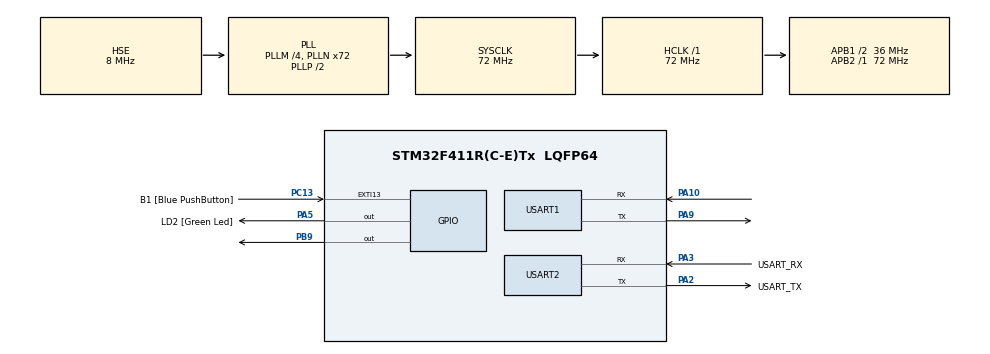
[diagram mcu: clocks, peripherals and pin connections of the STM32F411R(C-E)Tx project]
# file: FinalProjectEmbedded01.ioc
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Mcu.Family=STM32F4
Mcu.Name=STM32F411R(C-E)Tx
Mcu.Package=LQFP64
NVIC.PriorityGroup=NVIC_PRIORITYGROUP_0
NVIC.USART1_IRQn=true\:0\:0\:false\:false\:true\:true\:true\:true
PA10.Mode=Asynchronous
PA10.Signal=USART1_RX
PA13.GPIO_Label=TMS
PA13.Mode=Serial_Wire
PA13.Signal=SYS_JTMS-SWDIO
PA14.GPIO_Label=TCK
PA14.Mode=Serial_Wire
PA14.Signal=SYS_JTCK-SWCLK
PA2.GPIO_Label=USART_TX
PA2.Mode=Asynchronous
PA2.Signal=USART2_TX
PA3.GPIO_Label=USART_RX
PA3.Mode=Asynchronous
PA3.Signal=USART2_RX
PA5.GPIO_Label=LD2 [Green Led]
PA5.Signal=GPIO_Output
PA9.Mode=Asynchronous
PA9.Signal=USART1_TX
PB3.GPIO_Label=SWO
PB3.Signal=SYS_JTDO-SWO
PB9.Signal=GPIO_Output
PC13-ANTI_TAMP.GPIO_Label=B1 [Blue PushButton]
PC13-ANTI_TAMP.GPIO_ModeDefaultEXTI=GPIO_MODE_IT_FALLING
PC13-ANTI_TAMP.Signal=GPXTI13
PC14-OSC32_IN.Mode=LSE-External-Oscillator
PC14-OSC32_IN.Signal=RCC_OSC32_IN
PC15-OSC32_OUT.Mode=LSE-External-Oscillator
PC15-OSC32_OUT.Signal=RCC_OSC32_OUT
PH0\ -\ OSC_IN.Mode=HSE-External-Oscillator
PH0\ -\ OSC_IN.Signal=RCC_OSC_IN
PH1\ -\ OSC_OUT.Mode=HSE-External-Oscillator
PH1\ -\ OSC_OUT.Signal=RCC_OSC_OUT
ProjectManager.HeapSize=0x200
ProjectManager.StackSize=0x400
ProjectManager.TargetToolchain=STM32CubeIDE
RCC.48MHZClocksFreq_Value=36000000
RCC.AHBFreq_Value=72000000
RCC.APB1CLKDivider=RCC_HCLK_DIV2
RCC.APB1Freq_Value=36000000
RCC.APB1TimFreq_Value=72000000
RCC.APB2Freq_Value=72000000
RCC.APB2TimFreq_Value=72000000
RCC.CortexFreq_Value=72000000
RCC.FLatency-AdvancedSettings=FLASH_LATENCY_2
RCC.HCLKFreq_Value=72000000
RCC.HSE_VALUE=8000000
RCC.HSI_VALUE=16000000
RCC.PLLM=4
RCC.PLLN=72
RCC.PLLSourceVirtual=RCC_PLLSOURCE_HSE
RCC.SYSCLKFreq_VALUE=72000000
RCC.SYSCLKSource=RCC_SYSCLKSOURCE_PLLCLK
RCC.VCOOutputFreq_Value=144000000
TIM1.Prescaler=71
USART1.VirtualMode=VM_ASYNC
USART2.VirtualMode=VM_ASYNC
VP_TIM1_VS_ClockSourceINT.Mode=Internal
board=NUCLEO-F411RE

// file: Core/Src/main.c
/* USER CODE BEGIN Header */
/**
  ******************************************************************************
  * @file           : main.c
  * @brief          : Main program body
  ******************************************************************************
  * @attention
  *
  * Copyright (c) 2024 STMicroelectronics.
  * All rights reserved.
  *
  * This software is licensed under terms that can be found in the LICENSE file
  * in the root directory of this software component.
  * If no LICENSE file comes with this software, it is provided AS-IS.
  *
  ******************************************************************************
  */
/* USER CODE END Header */
#include "main.h"

TIM_HandleTypeDef htim1;

UART_HandleTypeDef huart1;
UART_HandleTypeDef huart2;

void SystemClock_Config(void);
static void MX_GPIO_Init(void);
static void MX_USART2_UART_Init(void);
static void MX_TIM1_Init(void);
static void MX_USART1_UART_Init(void);

/* USER CODE BEGIN 0 */
#define DHT22_PORT GPIOB
#define DHT22_PIN GPIO_PIN_9
uint8_t RH1, RH2, TC1, TC2, SUM, CHECK;
uint8_t RHI, RHD, TCI, TCD, TFI, TFD;
int temperature,humidity;
char strCopy[15];
uint32_t pMillis, cMillis;
double tCelsius = 0;
double tFahrenheit = 0;
double RH = 0;
char Rx_data[20]="";
char all_data[20]="";
void microDelay (uint16_t delay)
{
  __HAL_TIM_SET_COUNTER(&htim1, 0);
  while (__HAL_TIM_GET_COUNTER(&htim1) < delay);
}

uint8_t DHT22_Start (void)
{
  uint8_t Response = 0;
  GPIO_InitTypeDef GPIO_InitStructPrivate = {0};
  GPIO_InitStructPrivate.Pin = DHT22_PIN;
  GPIO_InitStructPrivate.Mode = GPIO_MODE_OUTPUT_PP;
  GPIO_InitStructPrivate.Speed = GPIO_SPEED_FREQ_LOW;
  GPIO_InitStructPrivate.Pull = GPIO_NOPULL;
  HAL_GPIO_Init(DHT22_PORT, &GPIO_InitStructPrivate); // set the pin as output
  HAL_GPIO_WritePin (DHT22_PORT, DHT22_PIN, 0);   // pull the pin low
  microDelay (1300);   // wait for 1300us
  HAL_GPIO_WritePin (DHT22_PORT, DHT22_PIN, 1);   // pull the pin high
  microDelay (30);   // wait for 30us
  GPIO_InitStructPrivate.Mode = GPIO_MODE_INPUT;
  GPIO_InitStructPrivate.Pull = GPIO_PULLUP;
  HAL_GPIO_Init(DHT22_PORT, &GPIO_InitStructPrivate); // set the pin as input
  microDelay (40);
  if (!(HAL_GPIO_ReadPin (DHT22_PORT, DHT22_PIN)))
  {
    microDelay (80);
    if ((HAL_GPIO_ReadPin (DHT22_PORT, DHT22_PIN))) Response = 1;
  }
  pMillis = HAL_GetTick();
  cMillis = HAL_GetTick();
  while ((HAL_GPIO_ReadPin (DHT22_PORT, DHT22_PIN)) && pMillis + 2 > cMillis)
  {
    cMillis = HAL_GetTick();
  }
  return Response;
}

uint8_t DHT22_Read (void)
{
  uint8_t a,b;
  for (a=0;a<8;a++)
  {
    pMillis = HAL_GetTick();
    cMillis = HAL_GetTick();
    while (!(HAL_GPIO_ReadPin (DHT22_PORT, DHT22_PIN)) && pMillis + 2 > cMillis)
    {  // wait for the pin to go high
      cMillis = HAL_GetTick();
    }
    microDelay (40);   // wait for 40 us
    if (!(HAL_GPIO_ReadPin (DHT22_PORT, DHT22_PIN)))   // if the pin is low
      b&= ~(1<<(7-a));
    else
      b|= (1<<(7-a));
    pMillis = HAL_GetTick();
    cMillis = HAL_GetTick();
    while ((HAL_GPIO_ReadPin (DHT22_PORT, DHT22_PIN)) && pMillis + 2 > cMillis)
    {  // wait for the pin to go low
      cMillis = HAL_GetTick();
    }
  }
  return b;
}

void HAL_UART_RxCpltCallback(UART_HandleTypeDef *huart){
	//HAL_UART_Receive_IT(&huart1, (uint8_t*)Rx_data, sizeof(Rx_data));
	//HAL_UART_Transmit(&huart1,all_data, sizeof(all_data), 500);
}
/* USER CODE END 0 */

int main(void)
{

  /* MCU Configuration--------------------------------------------------------*/

  /* Reset of all peripherals, Initializes the Flash interface and the Systick. */
  HAL_Init();

  /* Configure the system clock */
  SystemClock_Config();

  /* Initialize all configured peripherals */
  MX_GPIO_Init();
  MX_USART2_UART_Init();
  MX_TIM1_Init();
  MX_USART1_UART_Init();
  /* USER CODE BEGIN 2 */
  HAL_TIM_Base_Start(&htim1);
  HAL_UART_Receive_IT(&huart1, (uint8_t*) Rx_data, 20);
  /* USER CODE END 2 */

  /* Infinite loop */
  /* USER CODE BEGIN WHILE */
  while (1)
  {
	  if(DHT22_Start())
	      {
	        RH1 = DHT22_Read(); // First 8bits of humidity
	        RH2 = DHT22_Read(); // Second 8bits of Relative humidity
	        TC1 = DHT22_Read(); // First 8bits of Celsius
	        TC2 = DHT22_Read(); // Second 8bits of Celsius
	        SUM = DHT22_Read(); // Check sum
	        CHECK = RH1 + RH2 + TC1 + TC2;
	        if (CHECK == SUM)
	        {
	          if (TC1>127) // If TC1=10000000, negative temperature
	          {
	            tCelsius = (double)TC2/10*(-1);
	          }
	          else
	          {
	            tCelsius = (double)((TC1<<8)|TC2)/10;
	          }
	          tFahrenheit = tCelsius * 9/5 + 32;
	          RH = (double) ((RH1<<8)|RH2)/10;
	        }
	      }
//	 	 sprintf(int_str1,"%d.%d C   ",tCelsius);
	  	  	  temperature=(int) tCelsius;
	  	  	  humidity=(int)RH;
	  	  	  char int_str1[20]="";
	  	  	  char int_str2[20]="";

	 	 	 sprintf(int_str1, "%d", temperature);
	 	 	 sprintf(int_str2, "%d", humidity);

	 	 	 int i=0;
	 	 	 for(i;i<20;i++){
	 	 		 if(int_str1[i]!='1' && int_str1[i]!='2' && int_str1[i]!='3' && int_str1[i]!='4' && int_str1[i]!='5' && int_str1[i]!='6' && int_str1[i]!='7' && int_str1[i]!='8' && int_str1[i]!='9' && int_str1[i]!='0'){
//	 	 			 HAL_UART_Transmit(&huart2, "ER",2, 10);
	 	 			char is[20]="";
	 	 			sprintf(is, "%d", i);
	 	 			HAL_UART_Transmit(&huart2, is,sizeof(is), 10);
	 	 			 HAL_UART_Transmit(&huart2, "\r\n",2, 10);
	 	 			 break;
	 	 		 }
	 	 		 all_data[i]=int_str1[i];
	 	 	 }

	 	 	 all_data[i]='a';
	 	 	 i++;

	 	 	 for(int j=0;j<20;j++){
	 	 		 if(int_str2[j]!='1' && int_str2[j]!='2' && int_str2[j]!='3' && int_str2[j]!='4' && int_str2[j]!='5' && int_str2[j]!='6' && int_str2[j]!='7' && int_str2[j]!='8' && int_str2[j]!='9' && int_str2[j]!='0'){
	 	 			 all_data[i]='C';
	 	 			HAL_UART_Transmit(&huart1,all_data, sizeof(all_data), 20);
	 	 			 break;
	 	 		 }
	 	 		 all_data[i]=int_str2[j];
	 	 		 i++;
	 	 	 }

//	 	 	  HAL_UART_Transmit(&huart2, int_str1,sizeof(int_str1), 10);
//	 	 	 HAL_UART_Transmit(&huart2, "  ",2, 10);
//	 	 	 HAL_UART_Transmit(&huart2, int_str2,sizeof(int_str2), 10);
//	 	 	 HAL_UART_Transmit(&huart2, "  ",2, 10);
	 	 	 HAL_UART_Transmit(&huart2, all_data,sizeof(all_data), 10);
	 	 	  HAL_UART_Transmit(&huart2, "\r\n",2, 10);
	 	 	  HAL_GPIO_TogglePin(GPIOA, GPIO_PIN_5);
	 	      HAL_Delay(1000);
    /* USER CODE END WHILE */

  }
}

void SystemClock_Config(void)
{
  RCC_OscInitTypeDef RCC_OscInitStruct = {0};
  RCC_ClkInitTypeDef RCC_ClkInitStruct = {0};

  /** Configure the main internal regulator output voltage
  */
  __HAL_RCC_PWR_CLK_ENABLE();
  __HAL_PWR_VOLTAGESCALING_CONFIG(PWR_REGULATOR_VOLTAGE_SCALE1);

  /** Initializes the RCC Oscillators according to the specified parameters
  * in the RCC_OscInitTypeDef structure.
  */
  RCC_OscInitStruct.OscillatorType = RCC_OSCILLATORTYPE_HSE;
  RCC_OscInitStruct.HSEState = RCC_HSE_ON;
  RCC_OscInitStruct.PLL.PLLState = RCC_PLL_ON;
  RCC_OscInitStruct.PLL.PLLSource = RCC_PLLSOURCE_HSE;
  RCC_OscInitStruct.PLL.PLLM = 4;
  RCC_OscInitStruct.PLL.PLLN = 72;
  RCC_OscInitStruct.PLL.PLLP = RCC_PLLP_DIV2;
  RCC_OscInitStruct.PLL.PLLQ = 4;
  if (HAL_RCC_OscConfig(&RCC_OscInitStruct) != HAL_OK)
  {
    Error_Handler();
  }

  /** Initializes the CPU, AHB and APB buses clocks
  */
  RCC_ClkInitStruct.ClockType = RCC_CLOCKTYPE_HCLK|RCC_CLOCKTYPE_SYSCLK
                              |RCC_CLOCKTYPE_PCLK1|RCC_CLOCKTYPE_PCLK2;
  RCC_ClkInitStruct.SYSCLKSource = RCC_SYSCLKSOURCE_PLLCLK;
  RCC_ClkInitStruct.AHBCLKDivider = RCC_SYSCLK_DIV1;
  RCC_ClkInitStruct.APB1CLKDivider = RCC_HCLK_DIV2;
  RCC_ClkInitStruct.APB2CLKDivider = RCC_HCLK_DIV1;

  if (HAL_RCC_ClockConfig(&RCC_ClkInitStruct, FLASH_LATENCY_2) != HAL_OK)
  {
    Error_Handler();
  }
}

static void MX_TIM1_Init(void)
{

  TIM_ClockConfigTypeDef sClockSourceConfig = {0};
  TIM_MasterConfigTypeDef sMasterConfig = {0};

  htim1.Instance = TIM1;
  htim1.Init.Prescaler = 71;
  htim1.Init.CounterMode = TIM_COUNTERMODE_UP;
  htim1.Init.Period = 65535;
  htim1.Init.ClockDivision = TIM_CLOCKDIVISION_DIV1;
  htim1.Init.RepetitionCounter = 0;
  htim1.Init.AutoReloadPreload = TIM_AUTORELOAD_PRELOAD_DISABLE;
  if (HAL_TIM_Base_Init(&htim1) != HAL_OK)
  {
    Error_Handler();
  }
  sClockSourceConfig.ClockSource = TIM_CLOCKSOURCE_INTERNAL;
  if (HAL_TIM_ConfigClockSource(&htim1, &sClockSourceConfig) != HAL_OK)
  {
    Error_Handler();
  }
  sMasterConfig.MasterOutputTrigger = TIM_TRGO_RESET;
  sMasterConfig.MasterSlaveMode = TIM_MASTERSLAVEMODE_DISABLE;
  if (HAL_TIMEx_MasterConfigSynchronization(&htim1, &sMasterConfig) != HAL_OK)
  {
    Error_Handler();
  }

}

static void MX_USART1_UART_Init(void)
{

  huart1.Instance = USART1;
  huart1.Init.BaudRate = 115200;
  huart1.Init.WordLength = UART_WORDLENGTH_8B;
  huart1.Init.StopBits = UART_STOPBITS_1;
  huart1.Init.Parity = UART_PARITY_NONE;
  huart1.Init.Mode = UART_MODE_TX_RX;
  huart1.Init.HwFlowCtl = UART_HWCONTROL_NONE;
  huart1.Init.OverSampling = UART_OVERSAMPLING_16;
  if (HAL_UART_Init(&huart1) != HAL_OK)
  {
    Error_Handler();
  }

}

static void MX_USART2_UART_Init(void)
{

  huart2.Instance = USART2;
  huart2.Init.BaudRate = 115200;
  huart2.Init.WordLength = UART_WORDLENGTH_8B;
  huart2.Init.StopBits = UART_STOPBITS_1;
  huart2.Init.Parity = UART_PARITY_NONE;
  huart2.Init.Mode = UART_MODE_TX_RX;
  huart2.Init.HwFlowCtl = UART_HWCONTROL_NONE;
  huart2.Init.OverSampling = UART_OVERSAMPLING_16;
  if (HAL_UART_Init(&huart2) != HAL_OK)
  {
    Error_Handler();
  }

}

static void MX_GPIO_Init(void)
{
  GPIO_InitTypeDef GPIO_InitStruct = {0};

  /* GPIO Ports Clock Enable */
  __HAL_RCC_GPIOC_CLK_ENABLE();
  __HAL_RCC_GPIOH_CLK_ENABLE();
  __HAL_RCC_GPIOA_CLK_ENABLE();
  __HAL_RCC_GPIOB_CLK_ENABLE();

  /*Configure GPIO pin Output Level */
  HAL_GPIO_WritePin(LD2_GPIO_Port, LD2_Pin, GPIO_PIN_RESET);

  /*Configure GPIO pin Output Level */
  HAL_GPIO_WritePin(GPIOB, GPIO_PIN_9, GPIO_PIN_RESET);

  /*Configure GPIO pin : B1_Pin */
  GPIO_InitStruct.Pin = B1_Pin;
  GPIO_InitStruct.Mode = GPIO_MODE_IT_FALLING;
  GPIO_InitStruct.Pull = GPIO_NOPULL;
  HAL_GPIO_Init(B1_GPIO_Port, &GPIO_InitStruct);

  /*Configure GPIO pin : LD2_Pin */
  GPIO_InitStruct.Pin = LD2_Pin;
  GPIO_InitStruct.Mode = GPIO_MODE_OUTPUT_PP;
  GPIO_InitStruct.Pull = GPIO_NOPULL;
  GPIO_InitStruct.Speed = GPIO_SPEED_FREQ_LOW;
  HAL_GPIO_Init(LD2_GPIO_Port, &GPIO_InitStruct);

  /*Configure GPIO pin : PB9 */
  GPIO_InitStruct.Pin = GPIO_PIN_9;
  GPIO_InitStruct.Mode = GPIO_MODE_OUTPUT_PP;
  GPIO_InitStruct.Pull = GPIO_NOPULL;
  GPIO_InitStruct.Speed = GPIO_SPEED_FREQ_LOW;
  HAL_GPIO_Init(GPIOB, &GPIO_InitStruct);

}

void Error_Handler(void)
{
  __disable_irq();
  while (1)
  {
  }
}
